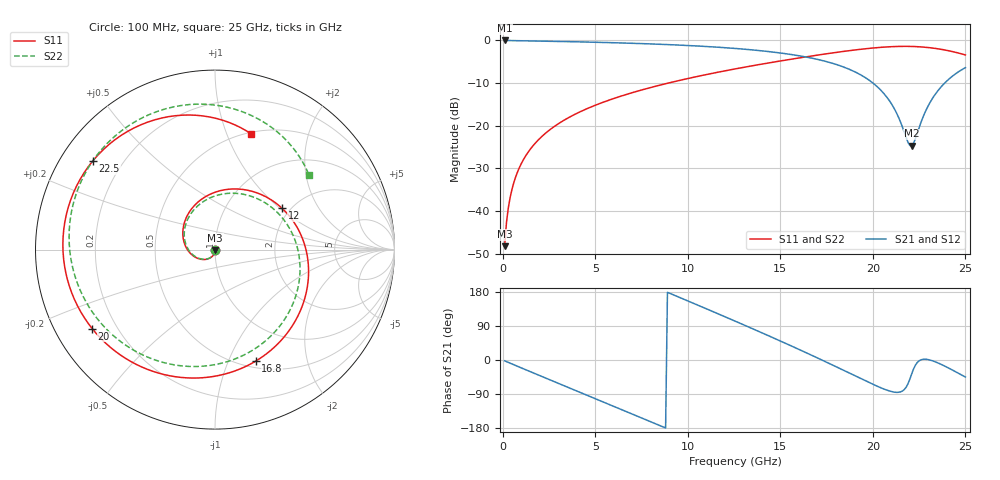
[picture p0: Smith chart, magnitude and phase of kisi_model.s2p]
! kisi B_s8_L1L3_stub_d200: fast channel model (formula impedances, via model), up to 25 GHz
# Hz S RI R 50
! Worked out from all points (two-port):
!   250 points, 100 MHz to 25 GHz, reference 50 ohm
!   highest |S21| = -0.02 dB at 100 MHz (marker M1); lowest = -24.7 dB at 22.1 GHz (marker M2)
!   |S21| within 3 dB of the highest: start of sweep to 15.11 GHz
!   lowest |S11| = -48.3 dB at 100 MHz (marker M3), VSWR 1.01, Z = 50.1 - j0.362 ohm
!   |S11| at or under -10 dB: start of sweep to 8.955 GHz
!   |S22| runs from -48.3 to -1.5 dB; largest |S21 - S12| = 0
!   S11 on the Smith chart (normalised r, x): 100 MHz: 1.00, -0.01; 12 GHz: 1.81, +1.03; 16.8 GHz: 0.57, -1.26; 20 GHz: 0.11, -0.29; 22.5 GHz: 0.10, +0.32; 25 GHz: 0.52, +1.23
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1e8  0.00139 -0.00361  0.997 -0.0374  0.997 -0.0374  0.00138 -0.0036
2e8  0.00103 -0.00722  0.9941 -0.074  0.9941 -0.074  0.00102 -0.00722
4e8  -0.000539 -0.0144  0.9844 -0.1458  0.9844 -0.1458  -0.000592 -0.0144
1.1e9  -0.0141 -0.0367  0.9118 -0.384  0.9118 -0.384  -0.0146 -0.0366
2.8e9  -0.0827 -0.0531  0.5241 -0.8212  0.5241 -0.8212  -0.0851 -0.0501
4.3e9  -0.1494 -0.00649  0.0362 -0.9581  0.0362 -0.9581  -0.1504 0.00375
6.1e9  -0.1778 0.115  -0.5281 -0.7739  -0.5281 -0.7739  -0.1646 0.135
7.3e9  -0.1416 0.2116  -0.786 -0.4779  -0.786 -0.4779  -0.1094 0.2309
8.4e9  -0.0637 0.2882  -0.8912 -0.1387  -0.8912 -0.1387  -0.0106 0.2952
1.01e10  0.1276 0.3376  -0.7801 0.3823  -0.7801 0.3823  0.2025 0.2968
1.2e10  0.3739 0.2301  -0.3381 0.7482  -0.3381 0.7482  0.4209 0.108
1.26e10  0.4382 0.155  -0.1626 0.7865  -0.1626 0.7865  0.4593 0.00925
1.46e10  0.5146 -0.2071  0.377 0.6243  0.377 0.6243  0.3946 -0.378
1.67e10  0.2492 -0.6072  0.6043 0.1327  0.6043 0.1327  -0.0317 -0.6458
1.68e10  0.2268 -0.6212  0.6027 0.1076  0.6027 0.1076  -0.0591 -0.6489
1.85e10  -0.2511 -0.7031  0.4189 -0.2334  0.4189 -0.2334  -0.5408 -0.5008
2e10  -0.6847 -0.4397  0.1386 -0.2845  0.1386 -0.2845  -0.8036 -0.0475
2.09e10  -0.8315 -0.1283  0.0278 -0.1933  0.0278 -0.1933  -0.7749 0.3059
2.21e10  -0.7715 0.3538  0.0467 -0.0345  0.0467 -0.0345  -0.4683 0.6987
2.25e10  -0.68 0.4952  0.095 -0.00348  0.095 -0.00348  -0.3126 0.773
2.37e10  -0.2602 0.7404  0.281 -0.0585  0.281 -0.0585  0.1837 0.7558
2.5e10  0.2025 0.6439  0.3389 -0.3383  0.3389 -0.3383  0.5237 0.4155
